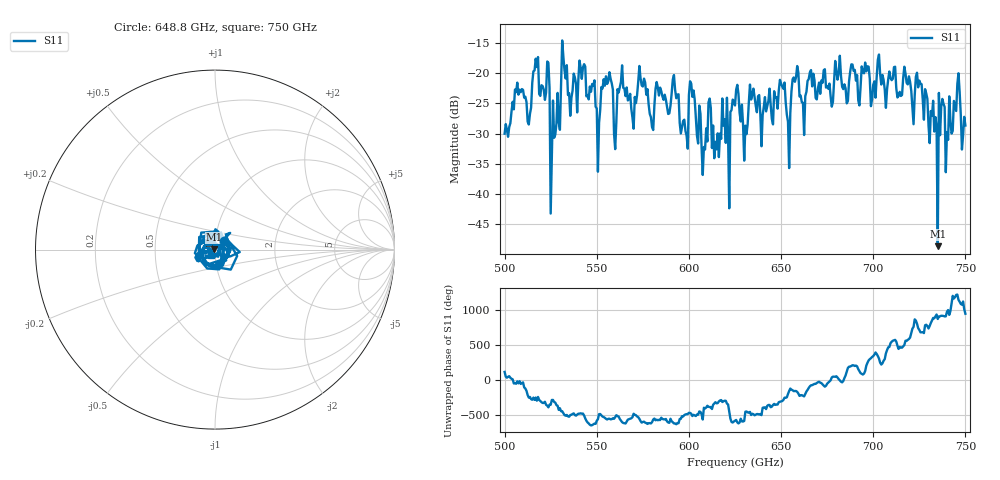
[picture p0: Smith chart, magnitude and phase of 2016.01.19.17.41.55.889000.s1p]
!Created with skrf (http://scikit-rf.org).
# GHz S RI R 50.0
!freq ReS11 ImS11
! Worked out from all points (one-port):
!   401 points, 500 GHz to 750 GHz, reference 50 ohm
!   lowest |S11| = -48.6 dB at 735 GHz (marker M1), VSWR 1.01, Z = 49.7 + j0.156 ohm
!   |S11| at or under -10 dB: start of sweep to end of sweep
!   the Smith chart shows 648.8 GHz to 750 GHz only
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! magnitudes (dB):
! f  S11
! 500 GHz  -30.0
! 506.9 GHz  -21.6
! 513.1 GHz  -28.5
! 516.9 GHz  -17.6
! 523.1 GHz  -18.1
! 526.2 GHz  -24.6
! 531.2 GHz  -14.6
! 542.5 GHz  -19.1
! 550.6 GHz  -36.3
! 553.8 GHz  -21.0
! 562.5 GHz  -22.4
! 593.8 GHz  -23.6
! 598.1 GHz  -29.6
! 601.9 GHz  -23.9
! 608.1 GHz  -32.2
! 610.6 GHz  -24.8
! 621.2 GHz  -30.4
! 625 GHz  -25.4
! 630.6 GHz  -28.7
! 633.8 GHz  -24.4
! 650.6 GHz  -22.2
! 653.8 GHz  -28.1
! 656.2 GHz  -21.0
! 687.5 GHz  -19.8
! 718.8 GHz  -21.9
! 735 GHz  -48.6
! 745.6 GHz  -21.8
! 750 GHz  -28.7
